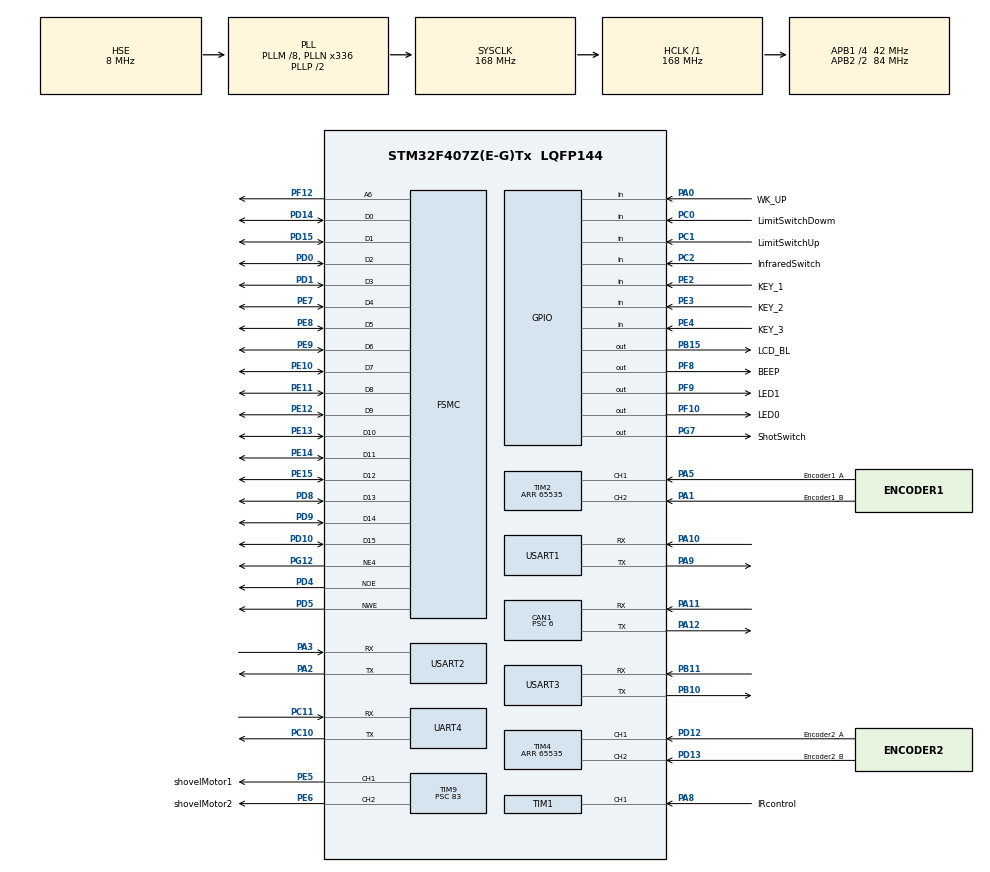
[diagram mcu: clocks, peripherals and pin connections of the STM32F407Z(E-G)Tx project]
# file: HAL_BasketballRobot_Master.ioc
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CAN1.ABOM=ENABLE
CAN1.BS1=CAN_BS1_2TQ
CAN1.BS2=CAN_BS2_4TQ
CAN1.CalculateTimeQuantum=142.85714285714286
CAN1.Prescaler=6
CAN1.TXFP=ENABLE
FSMC.BusTurnAroundDuration1=0
FSMC.DataSetupTime1=60
FSMC.ExtendedAddressSetupTime1=3
FSMC.ExtendedBusTurnAroundDuration1=0
FSMC.ExtendedDataSetupTime1=2
FSMC.ExtendedMode1=FSMC_EXTENDED_MODE_ENABLE
Mcu.Family=STM32F4
Mcu.Name=STM32F407Z(E-G)Tx
Mcu.Package=LQFP144
NVIC.CAN1_RX0_IRQn=true\:1\:0\:true\:false\:true\:true
NVIC.CAN1_TX_IRQn=true\:0\:0\:false\:false\:true\:true
NVIC.PriorityGroup=NVIC_PRIORITYGROUP_2
NVIC.TIM1_CC_IRQn=true\:0\:2\:false\:false\:true\:true
NVIC.TIM1_UP_TIM10_IRQn=true\:0\:3\:false\:false\:true\:true
NVIC.TIM5_IRQn=true\:1\:1\:true\:false\:true\:true
NVIC.UART4_IRQn=true\:2\:3\:true\:false\:true\:true
NVIC.USART1_IRQn=true\:2\:2\:true\:false\:true\:true
NVIC.USART2_IRQn=true\:2\:1\:true\:false\:true\:true
NVIC.USART3_IRQn=true\:2\:0\:true\:false\:true\:true
PA0-WKUP.GPIO_Label=WK_UP
PA0-WKUP.GPIO_PuPd=GPIO_PULLDOWN
PA0-WKUP.Signal=GPIO_Input
PA1.GPIO_Label=Encoder1_B
PA1.GPIO_PuPd=GPIO_PULLUP
PA1.GPIO_Speed=GPIO_SPEED_FREQ_HIGH
PA1.Signal=S_TIM2_CH2
PA10.Mode=Asynchronous
PA10.Signal=USART1_RX
PA11.GPIO_Speed=GPIO_SPEED_FREQ_VERY_HIGH
PA11.Mode=Master
PA11.Signal=CAN1_RX
PA12.GPIO_Speed=GPIO_SPEED_FREQ_VERY_HIGH
PA12.Mode=Master
PA12.Signal=CAN1_TX
PA13.Mode=JTAG_5_pins
PA13.Signal=SYS_JTMS-SWDIO
PA14.Mode=JTAG_5_pins
PA14.Signal=SYS_JTCK-SWCLK
PA15.Mode=JTAG_5_pins
PA15.Signal=SYS_JTDI
PA2.Mode=Asynchronous
PA2.Signal=USART2_TX
PA3.Mode=Asynchronous
PA3.Signal=USART2_RX
PA5.GPIO_Label=Encoder1_A
PA5.GPIO_PuPd=GPIO_PULLUP
PA5.GPIO_Speed=GPIO_SPEED_FREQ_HIGH
PA5.Signal=S_TIM2_CH1_ETR
PA8.GPIO_Label=IRcontrol
PA8.GPIO_PuPd=GPIO_PULLUP
PA8.GPIO_Speed=GPIO_SPEED_FREQ_HIGH
PA8.Signal=S_TIM1_CH1
PA9.Mode=Asynchronous
PA9.Signal=USART1_TX
PB10.Mode=Asynchronous
PB10.Signal=USART3_TX
PB11.Mode=Asynchronous
PB11.Signal=USART3_RX
PB15.GPIO_Label=LCD_BL
PB15.GPIO_PuPd=GPIO_PULLUP
PB15.GPIO_Speed=GPIO_SPEED_FREQ_HIGH
PB15.Signal=GPIO_Output
PB3.Mode=JTAG_5_pins
PB3.Signal=SYS_JTDO-SWO
PB4.Mode=JTAG_5_pins
PB4.Signal=SYS_JTRST
PC0.GPIO_Label=LimitSwitchDowm
PC0.GPIO_PuPd=GPIO_PULLUP
PC0.Signal=GPIO_Input
PC1.GPIO_Label=LimitSwitchUp
PC1.GPIO_PuPd=GPIO_PULLUP
PC1.Signal=GPIO_Input
PC10.Mode=Asynchronous
PC10.Signal=UART4_TX
PC11.Mode=Asynchronous
PC11.Signal=UART4_RX
PC2.GPIO_Label=InfraredSwitch
PC2.GPIO_PuPd=GPIO_PULLUP
PC2.Signal=GPIO_Input
PD0.GPIO_PuPd=GPIO_PULLUP
PD0.Signal=FSMC_D2_DA2
PD1.GPIO_PuPd=GPIO_PULLUP
PD1.Signal=FSMC_D3_DA3
PD10.GPIO_PuPd=GPIO_PULLUP
PD10.Signal=FSMC_D15_DA15
PD12.GPIO_Label=Encoder2_A
PD12.GPIO_PuPd=GPIO_PULLUP
PD12.GPIO_Speed=GPIO_SPEED_FREQ_HIGH
PD12.Signal=S_TIM4_CH1
PD13.GPIO_Label=Encoder2_B
PD13.GPIO_PuPd=GPIO_PULLUP
PD13.GPIO_Speed=GPIO_SPEED_FREQ_HIGH
PD13.Signal=S_TIM4_CH2
PD14.GPIO_PuPd=GPIO_PULLUP
PD14.Signal=FSMC_D0_DA0
PD15.GPIO_PuPd=GPIO_PULLUP
PD15.Signal=FSMC_D1_DA1
PD4.GPIO_PuPd=GPIO_PULLUP
PD4.Signal=FSMC_NOE
PD5.GPIO_PuPd=GPIO_PULLUP
PD5.Signal=FSMC_NWE
PD8.GPIO_PuPd=GPIO_PULLUP
PD8.Signal=FSMC_D13_DA13
PD9.GPIO_PuPd=GPIO_PULLUP
PD9.Signal=FSMC_D14_DA14
PE10.GPIO_PuPd=GPIO_PULLUP
PE10.Signal=FSMC_D7_DA7
PE11.GPIO_PuPd=GPIO_PULLUP
PE11.Signal=FSMC_D8_DA8
PE12.GPIO_PuPd=GPIO_PULLUP
PE12.Signal=FSMC_D9_DA9
PE13.GPIO_PuPd=GPIO_PULLUP
PE13.Signal=FSMC_D10_DA10
PE14.GPIO_PuPd=GPIO_PULLUP
PE14.Signal=FSMC_D11_DA11
PE15.GPIO_PuPd=GPIO_PULLUP
PE15.Signal=FSMC_D12_DA12
PE2.GPIO_Label=KEY_1
PE2.GPIO_PuPd=GPIO_PULLUP
PE2.Signal=GPIO_Input
PE3.GPIO_Label=KEY_2
PE3.GPIO_PuPd=GPIO_PULLUP
PE3.Signal=GPIO_Input
PE4.GPIO_Label=KEY_3
PE4.GPIO_PuPd=GPIO_PULLUP
PE4.Signal=GPIO_Input
PE5.GPIO_Label=shovelMotor1
PE5.GPIO_PuPd=GPIO_PULLUP
PE5.GPIO_Speed=GPIO_SPEED_FREQ_HIGH
PE5.Signal=S_TIM9_CH1
PE6.GPIO_Label=shovelMotor2
PE6.GPIO_PuPd=GPIO_PULLUP
PE6.GPIO_Speed=GPIO_SPEED_FREQ_HIGH
PE6.Signal=S_TIM9_CH2
PE7.GPIO_PuPd=GPIO_PULLUP
PE7.Signal=FSMC_D4_DA4
PE8.GPIO_PuPd=GPIO_PULLUP
PE8.Signal=FSMC_D5_DA5
PE9.GPIO_PuPd=GPIO_PULLUP
PE9.Signal=FSMC_D6_DA6
PF10.GPIO_Label=LED0
PF10.GPIO_PuPd=GPIO_PULLUP
PF10.GPIO_Speed=GPIO_SPEED_FREQ_HIGH
PF10.PinState=GPIO_PIN_SET
PF10.Signal=GPIO_Output
PF12.GPIO_PuPd=GPIO_PULLUP
PF12.Signal=FSMC_A6
PF8.GPIO_Label=BEEP
PF8.GPIO_PuPd=GPIO_PULLUP
PF8.GPIO_Speed=GPIO_SPEED_FREQ_HIGH
PF8.Signal=GPIO_Output
PF9.GPIO_Label=LED1
PF9.GPIO_PuPd=GPIO_PULLUP
PF9.GPIO_Speed=GPIO_SPEED_FREQ_HIGH
PF9.PinState=GPIO_PIN_SET
PF9.Signal=GPIO_Output
PG12.GPIO_PuPd=GPIO_PULLUP
PG12.Mode=NorPsramChipSelect4_1
PG12.Signal=FSMC_NE4
PG7.GPIO_Label=ShotSwitch
PG7.GPIO_PuPd=GPIO_PULLUP
PG7.GPIO_Speed=GPIO_SPEED_FREQ_HIGH
PG7.Signal=GPIO_Output
PH0-OSC_IN.Mode=HSE-External-Oscillator
PH0-OSC_IN.Signal=RCC_OSC_IN
PH1-OSC_OUT.Mode=HSE-External-Oscillator
PH1-OSC_OUT.Signal=RCC_OSC_OUT
ProjectManager.HeapSize=0x200
ProjectManager.StackSize=0x400
ProjectManager.TargetToolchain=MDK-ARM V5
RCC.48MHZClocksFreq_Value=84000000
RCC.AHBFreq_Value=168000000
RCC.APB1CLKDivider=RCC_HCLK_DIV4
RCC.APB1Freq_Value=42000000
RCC.APB1TimFreq_Value=84000000
RCC.APB2CLKDivider=RCC_HCLK_DIV2
RCC.APB2Freq_Value=84000000
RCC.APB2TimFreq_Value=168000000
RCC.CortexFreq_Value=168000000
RCC.HCLKFreq_Value=168000000
RCC.HSE_VALUE=8000000
RCC.HSI_VALUE=16000000
RCC.LSE_VALUE=32768
RCC.PLLM=8
RCC.PLLN=336
RCC.PLLSourceVirtual=RCC_PLLSOURCE_HSE
RCC.SYSCLKFreq_VALUE=168000000
RCC.SYSCLKSource=RCC_SYSCLKSOURCE_PLLCLK
RCC.VCOOutputFreq_Value=336000000
SH.FSMC_A6.0=FSMC_A6,A6_1
SH.FSMC_D0_DA0.0=FSMC_D0,16b-d1
SH.FSMC_D10_DA10.0=FSMC_D10,16b-d1
SH.FSMC_D11_DA11.0=FSMC_D11,16b-d1
SH.FSMC_D12_DA12.0=FSMC_D12,16b-d1
SH.FSMC_D13_DA13.0=FSMC_D13,16b-d1
SH.FSMC_D14_DA14.0=FSMC_D14,16b-d1
SH.FSMC_D15_DA15.0=FSMC_D15,16b-d1
SH.FSMC_D1_DA1.0=FSMC_D1,16b-d1
SH.FSMC_D2_DA2.0=FSMC_D2,16b-d1
SH.FSMC_D3_DA3.0=FSMC_D3,16b-d1
SH.FSMC_D4_DA4.0=FSMC_D4,16b-d1
SH.FSMC_D5_DA5.0=FSMC_D5,16b-d1
SH.FSMC_D6_DA6.0=FSMC_D6,16b-d1
SH.FSMC_D7_DA7.0=FSMC_D7,16b-d1
SH.FSMC_D8_DA8.0=FSMC_D8,16b-d1
SH.FSMC_D9_DA9.0=FSMC_D9,16b-d1
SH.FSMC_NOE.0=FSMC_NOE,Lcd1
SH.FSMC_NWE.0=FSMC_NWE,Lcd1
SH.S_TIM1_CH1.0=TIM1_CH1,Input_Capture1_from_TI1
SH.S_TIM2_CH1_ETR.0=TIM2_CH1,Encoder_Interface
SH.S_TIM2_CH2.0=TIM2_CH2,Encoder_Interface
SH.S_TIM4_CH1.0=TIM4_CH1,Encoder_Interface
SH.S_TIM4_CH2.0=TIM4_CH2,Encoder_Interface
SH.S_TIM9_CH1.0=TIM9_CH1,PWM Generation1 CH1
SH.S_TIM9_CH2.0=TIM9_CH2,PWM Generation2 CH2
TIM1.Channel-Input_Capture1_from_TI1=TIM_CHANNEL_1
TIM1.ICFilter_CH1=3
TIM1.Period=9999
TIM1.Prescaler=167
TIM2.EncoderMode=TIM_ENCODERMODE_TI12
TIM2.IC1Filter=5
TIM2.IC2Filter=5
TIM2.Period=65535
TIM4.EncoderMode=TIM_ENCODERMODE_TI12
TIM4.IC1Filter=5
TIM4.IC2Filter=5
TIM4.Period=65535
TIM5.Period=9999
TIM5.Prescaler=83
TIM9.Channel-PWM\ Generation1\ CH1=TIM_CHANNEL_1
TIM9.Channel-PWM\ Generation2\ CH2=TIM_CHANNEL_2
TIM9.Period=999
TIM9.Prescaler=83
UART4.VirtualMode=Asynchronous
USART1.VirtualMode=VM_ASYNC
USART2.VirtualMode=VM_ASYNC
USART3.VirtualMode=VM_ASYNC
VP_TIM1_VS_ClockSourceINT.Mode=Internal
VP_TIM5_VS_ClockSourceINT.Mode=Internal
VP_TIM9_VS_ClockSourceINT.Mode=Internal
board=custom

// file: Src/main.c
/* USER CODE BEGIN Header */
/**
  ******************************************************************************
  * @file           : main.c
  * @brief          : Main program body
  ******************************************************************************
  ** This notice applies to any and all portions of this file
  * that are not between comment pairs USER CODE BEGIN and
  * USER CODE END. Other portions of this file, whether
  * inserted by the user or by software development tools
  * are owned by their respective copyright owners.
  *
  * COPYRIGHT(c) 2018 STMicroelectronics
  *
  * Redistribution and use in source and binary forms, with or without modification,
  * are permitted provided that the following conditions are met:
  *   1. Redistributions of source code must retain the above copyright notice,
  *      this list of conditions and the following disclaimer.
  *   2. Redistributions in binary form must reproduce the above copyright notice,
  *      this list of conditions and the following disclaimer in the documentation
  *      and/or other materials provided with the distribution.
  *   3. Neither the name of STMicroelectronics nor the names of its contributors
  *      may be used to endorse or promote products derived from this software
  *      without specific prior written permission.
  *
  * THIS SOFTWARE IS PROVIDED BY THE COPYRIGHT HOLDERS AND CONTRIBUTORS "AS IS"
  * AND ANY EXPRESS OR IMPLIED WARRANTIES, INCLUDING, BUT NOT LIMITED TO, THE
  * IMPLIED WARRANTIES OF MERCHANTABILITY AND FITNESS FOR A PARTICULAR PURPOSE ARE
  * DISCLAIMED. IN NO EVENT SHALL THE COPYRIGHT HOLDER OR CONTRIBUTORS BE LIABLE
  * FOR ANY DIRECT, INDIRECT, INCIDENTAL, SPECIAL, EXEMPLARY, OR CONSEQUENTIAL
  * DAMAGES (INCLUDING, BUT NOT LIMITED TO, PROCUREMENT OF SUBSTITUTE GOODS OR
  * SERVICES; LOSS OF USE, DATA, OR PROFITS; OR BUSINESS INTERRUPTION) HOWEVER
  * CAUSED AND ON ANY THEORY OF LIABILITY, WHETHER IN CONTRACT, STRICT LIABILITY,
  * OR TORT (INCLUDING NEGLIGENCE OR OTHERWISE) ARISING IN ANY WAY OUT OF THE USE
  * OF THIS SOFTWARE, EVEN IF ADVISED OF THE POSSIBILITY OF SUCH DAMAGE.
  *
  ******************************************************************************
  */
/* USER CODE END Header */

#include "main.h"
#include "can.h"
#include "tim.h"
#include "usart.h"
#include "gpio.h"
#include "fsmc.h"

/* USER CODE BEGIN Includes */
#include "control.h"
#include "math.h"
#include "mpu6050.h"
#include "lcd.h"
#include "delay.h"

/* USER CODE END Includes */

/* USER CODE BEGIN PV */
float output[6];
/* USER CODE END PV */

void SystemClock_Config(void);

int main(void)
{
  /* USER CODE BEGIN 1 */
  u8 i = 0;
  /* USER CODE END 1 */

  /* MCU Configuration--------------------------------------------------------*/

  /* Reset of all peripherals, Initializes the Flash interface and the Systick. */
  HAL_Init();

  /* Configure the system clock */
  SystemClock_Config();

  /* USER CODE BEGIN SysInit */
  delay_init(168);
  /* USER CODE END SysInit */

  /* Initialize all configured peripherals */
  MX_GPIO_Init();
  MX_CAN1_Init();
  MX_FSMC_Init();
  MX_USART1_UART_Init();
  MX_USART2_UART_Init();
  MX_USART3_UART_Init();
  MX_TIM1_Init();
  MX_TIM4_Init();
  MX_TIM9_Init();
  MX_TIM5_Init();
  MX_TIM2_Init();
  MX_UART4_Init();
  /* USER CODE BEGIN 2 */
  HAL_SRAM_MspInit(&hsram1);
  Control_Init();
  CAN1_Init();
  MOTOR_ControlInit();
  LCD_Init();
  LCD_Show_Title();
  //选择上位机PID调参对象
  rxPID.pidAdjust = &(Motor[1].AnglePID);
  /* USER CODE END 2 */

  /* Infinite loop */
  while (1)
  {

    /* USER CODE BEGIN 3 */
	  Set_MotorSpeed(2500, -2500, -2500,2500);
//	  output[2] = Motor[1].SetAngle;
//	  output[0] = Motor[1].Angle;
//	  output[0] = Motor[1].Speed;
//	  output[2] = BasketballRobot.w[1];//Motor[2].Current;
//	  output[3] = Motor[2].Temperature;
	  delay_ms(1000);
	  Set_MotorSpeed(-1000,1000,1000, -1000);
	  delay_ms(80);
	  Set_MotorSpeed(0,0,0,0);
	  delay_ms(5000);
	  UART_SendDataToPC(output, sizeof(output));
  }
  /* USER CODE END 3 */
}

void SystemClock_Config(void)
{
  RCC_OscInitTypeDef RCC_OscInitStruct = {0};
  RCC_ClkInitTypeDef RCC_ClkInitStruct = {0};

  /**Configure the main internal regulator output voltage
  */
  __HAL_RCC_PWR_CLK_ENABLE();
  __HAL_PWR_VOLTAGESCALING_CONFIG(PWR_REGULATOR_VOLTAGE_SCALE1);
  /**Initializes the CPU, AHB and APB busses clocks
  */
  RCC_OscInitStruct.OscillatorType = RCC_OSCILLATORTYPE_HSE;
  RCC_OscInitStruct.HSEState = RCC_HSE_ON;
  RCC_OscInitStruct.PLL.PLLState = RCC_PLL_ON;
  RCC_OscInitStruct.PLL.PLLSource = RCC_PLLSOURCE_HSE;
  RCC_OscInitStruct.PLL.PLLM = 8;
  RCC_OscInitStruct.PLL.PLLN = 336;
  RCC_OscInitStruct.PLL.PLLP = RCC_PLLP_DIV2;
  RCC_OscInitStruct.PLL.PLLQ = 4;
  if (HAL_RCC_OscConfig(&RCC_OscInitStruct) != HAL_OK)
  {
    Error_Handler();
  }
  /**Initializes the CPU, AHB and APB busses clocks
  */
  RCC_ClkInitStruct.ClockType = RCC_CLOCKTYPE_HCLK|RCC_CLOCKTYPE_SYSCLK
                              |RCC_CLOCKTYPE_PCLK1|RCC_CLOCKTYPE_PCLK2;
  RCC_ClkInitStruct.SYSCLKSource = RCC_SYSCLKSOURCE_PLLCLK;
  RCC_ClkInitStruct.AHBCLKDivider = RCC_SYSCLK_DIV1;
  RCC_ClkInitStruct.APB1CLKDivider = RCC_HCLK_DIV4;
  RCC_ClkInitStruct.APB2CLKDivider = RCC_HCLK_DIV2;

  if (HAL_RCC_ClockConfig(&RCC_ClkInitStruct, FLASH_LATENCY_5) != HAL_OK)
  {
    Error_Handler();
  }
}

void Error_Handler(void)
{
}

/************************ (C) COPYRIGHT STMicroelectronics *****END OF FILE****/
